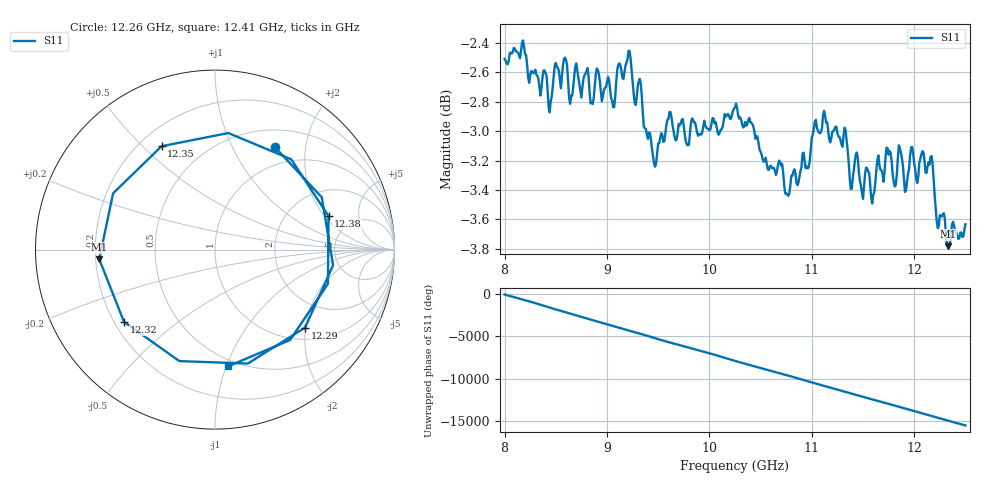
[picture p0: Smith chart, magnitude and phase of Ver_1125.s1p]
#  HZ  S  RI  R  50.00
! Rohde & Schwarz Vector Network Analyzer
! Rohde-Schwarz,ZNA43-4Port,1332450044101932,2.92
! Created: UTC 6/2/2026, 7:43:03 AM
! freq[Hz]  re:S11  im:S11
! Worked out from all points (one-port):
!   451 points, 8 GHz to 12.5 GHz, reference 50 ohm
!   lowest |S11| = -3.8 dB at 12.33 GHz (marker M1), VSWR 4.67, Z = 10.7 - j1.97 ohm
!   |S11| at or under -10 dB: nowhere
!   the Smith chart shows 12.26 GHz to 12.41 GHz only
!   S11 on the Smith chart (normalised r, x): 12.26 GHz: 0.73, +1.48; 12.29 GHz: 1.28, -1.99; 12.32 GHz: 0.24, -0.33; 12.35 GHz: 0.29, +0.57; 12.38 GHz: 3.32, +2.20; 12.41 GHz: 0.45, -1.02
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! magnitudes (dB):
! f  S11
! 8 GHz  -2.5
! 8.19 GHz  -2.4
! 8.44 GHz  -2.9
! 8.57 GHz  -2.6
! 9.06 GHz  -2.8
! 9.13 GHz  -2.6
! 9.32 GHz  -2.6
! 9.46 GHz  -3.2
! 9.61 GHz  -2.9
! 9.69 GHz  -3.0
! 10.25 GHz  -2.8
! 10.76 GHz  -3.4
! 10.82 GHz  -3.3
! 11.13 GHz  -2.9
! 11.33 GHz  -3.0
! 11.38 GHz  -3.4
! 11.6 GHz  -3.4
! 11.75 GHz  -3.2
! 11.94 GHz  -3.3
! 12.16 GHz  -3.2
! 12.26 GHz  -3.6
! 12.29 GHz  -3.6
! 12.32 GHz  -3.8
! 12.33 GHz  -3.8
! 12.35 GHz  -3.8
! 12.38 GHz  -3.6
! 12.41 GHz  -3.7
! 12.5 GHz  -3.6
